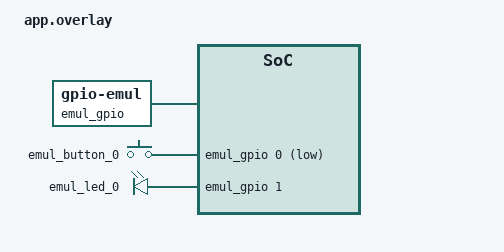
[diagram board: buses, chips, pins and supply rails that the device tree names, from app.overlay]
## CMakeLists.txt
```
# exercises/ex3-broken-e2e/CMakeLists.txt
#
# The same build as tests/shell_pytest, except the firmware comes from this
# folder's src/main.c instead of the app's. That copy is the file to fix. The
# backdoor, test_harness.c, is an unmodified copy of the one in
# tests/shell_pytest.

cmake_minimum_required(VERSION 3.20.0)

find_package(Zephyr REQUIRED HINTS $ENV{ZEPHYR_BASE})
project(pytest_advanced_ex3)

target_sources(app PRIVATE
    ${CMAKE_CURRENT_SOURCE_DIR}/src/main.c
    ${CMAKE_CURRENT_SOURCE_DIR}/test_harness.c
)

# app_state.h still comes from the app's own src/.
target_include_directories(app PRIVATE
    ${CMAKE_CURRENT_SOURCE_DIR}/../../src
)
```

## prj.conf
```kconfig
CONFIG_STDOUT_CONSOLE=y
CONFIG_PRINTK=y

CONFIG_GPIO=y
CONFIG_GPIO_EMUL=y

CONFIG_SHELL=y
CONFIG_SHELL_BACKEND_SERIAL=y
# Colour codes are invisible to a human and very visible to str.find().
CONFIG_SHELL_VT100_COLORS=n
```

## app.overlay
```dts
/* tests/shell_pytest/app.overlay */
#include <zephyr/dt-bindings/gpio/gpio.h>
#include <zephyr/dt-bindings/input/input-event-codes.h>

/ {
    emul_gpio: gpio_emul {
        compatible = "zephyr,gpio-emul";
        status = "okay";
        gpio-controller;
        #gpio-cells = <2>;
        ngpios = <4>;
        interrupt-controller;
        #interrupt-cells = <2>;
        rising-edge;
        falling-edge;
        high-level;
        low-level;
    };

    emul_keys {
        compatible = "gpio-keys";
        emul_button_0: emul_button_0 {
            gpios = <&emul_gpio 0 GPIO_ACTIVE_LOW>;
            zephyr,code = <INPUT_KEY_0>;
        };
    };

    emul_leds {
        compatible = "gpio-leds";
        emul_led_0: emul_led_0 {
            gpios = <&emul_gpio 1 GPIO_ACTIVE_HIGH>;
        };
    };

    /* BOTH aliases have to move. Reroute sw0 alone and led0 falls through to
     * native_sim's own led_0 on &gpio0 -- a controller this build never
     * enables -- and the first toggle from the button callback takes the
     * process down with a SIGSEGV. */
    aliases {
        sw0 = &emul_button_0;
        led0 = &emul_led_0;
    };
};
```

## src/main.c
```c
// This file has one bug. Run the suite, read the failure, fix it here.
//
// src/main.c
//
// Same application as apps/04-shell-pytest, with one addition: it keeps a
// press counter and exposes its state through src/app_state.h. No shell
// commands are registered here. The backdoor lives entirely in the test
// build, which is the point.

#include <zephyr/kernel.h>
#include <zephyr/device.h>
#include <zephyr/drivers/gpio.h>
#include <zephyr/sys/printk.h>

#include "app_state.h"

#define BUTTON_NODE DT_ALIAS(sw0)
static const struct gpio_dt_spec button = GPIO_DT_SPEC_GET(BUTTON_NODE, gpios);

#define LED0_NODE DT_ALIAS(led0)
static const struct gpio_dt_spec led = GPIO_DT_SPEC_GET(LED0_NODE, gpios);

static struct gpio_callback button_cb_data;

/* Packed into one byte, so the whole app state can be saved and restored in
 * a single write. */
static struct {
    uint8_t led_on : 1;
    uint8_t presses : 4;
} state;

bool app_led_state(void)
{
    return state.led_on;
}

uint32_t app_press_count(void)
{
    return state.presses;
}

void app_press_count_reset(void)
{
    state.presses = 0;
}

void button_pressed_cb(const struct device *dev, struct gpio_callback *cb, uint32_t pins)
{
    ARG_UNUSED(dev);
    ARG_UNUSED(cb);
    ARG_UNUSED(pins);

    gpio_pin_toggle_dt(&led);
    state.led_on = !state.led_on;
    state.presses++;

    printk("Button pressed! LED is now %s\n", state.led_on ? "ON" : "OFF");
}

int main(void)
{
    int ret;

    printk("GPIO Button + LED Toggle started\n");

    if (!device_is_ready(button.port)) {
        printk("Error: button device %s is not ready\n", button.port->name);
        return 0;
    }

    if (led.port == NULL || !device_is_ready(led.port)) {
        printk("Error: LED device is not ready\n");
        return 0;
    }

    ret = gpio_pin_configure_dt(&led, GPIO_OUTPUT_INACTIVE);
    if (ret != 0) {
        printk("Error %d: failed to configure LED\n", ret);
        return 0;
    }

    ret = gpio_pin_configure_dt(&button, GPIO_INPUT);
    if (ret != 0) {
        printk("Error %d: failed to configure button\n", ret);
        return 0;
    }

    ret = gpio_pin_interrupt_configure_dt(&button, GPIO_INT_EDGE_TO_ACTIVE);
    if (ret != 0) {
        printk("Error %d: failed to configure interrupt\n", ret);
        return 0;
    }

    gpio_init_callback(&button_cb_data, button_pressed_cb, BIT(button.pin));
    ret = gpio_add_callback(button.port, &button_cb_data);
    if (ret != 0) {
        printk("Error %d: failed to add callback\n", ret);
        return 0;
    }

    printk("Ready. Press the button to toggle LED.\n");

    while (1) {
        k_sleep(K_FOREVER);
    }
    return 0;
}
```
